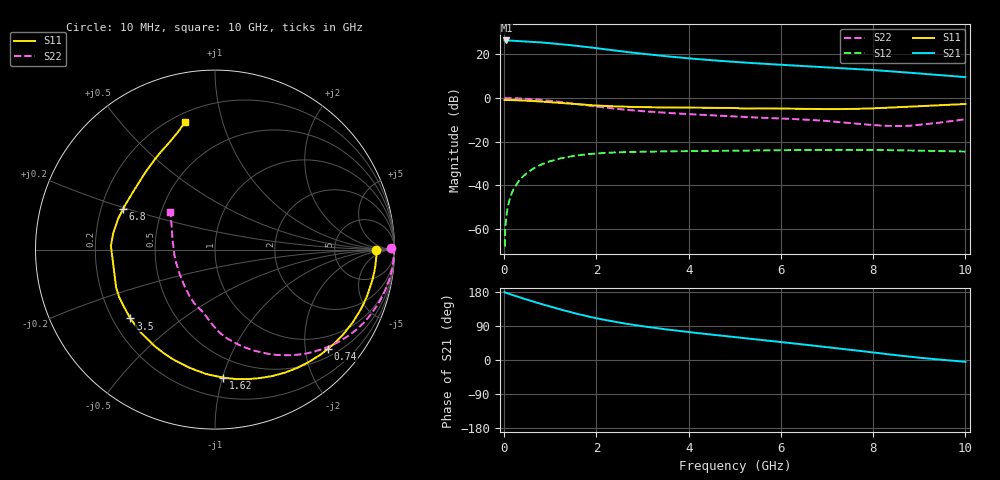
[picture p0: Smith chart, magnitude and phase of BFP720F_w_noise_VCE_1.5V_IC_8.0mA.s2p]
! Infineon Technologies  Discrete & RF Semiconductors
! BFP720F
! VCE =  1.5 V,  IC =  8.0 mA
! Common Emitter S-Parameters:  Jan 2016
# GHz  S  MA  R  50
!  f  S11  S21  S12  S22
! GHz  MAG  ANG  MAG  ANG  MAG  ANG  MAG  ANG
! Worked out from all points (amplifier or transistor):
!   233 points, 10 MHz to 10 GHz, reference 50 ohm
!   highest |S21| = 26.4 dB at 50 MHz (marker M1)
!   |S21| within 3 dB of that: start of sweep to 1.795 GHz
!   unconditionally stable (mu >= 1): start of sweep to 12.61 MHz; 7.189 GHz to end of sweep
!   at 200 MHz: K = 0.05, MSG = 34.1 dB, |S12| = -42.0 dB
!   at 1.74 GHz: K = 0.27, MSG = 24.7 dB, |S12| = -25.9 dB
!   at 10 GHz: K = 1.30, MAG = 13.8 dB, |S12| = -24.6 dB
!   lowest NFmin = 0.50 dB at 450 MHz
!   S11 on the Smith chart (normalised r, x): 10 MHz: 18, -0; 740 MHz: 0.68, -2.50; 1.62 GHz: 0.35, -1.00; 3.5 GHz: 0.27, -0.33; 6.8 GHz: 0.29, +0.19; 10 GHz: 0.25, +0.76
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0.01  0.8956 -0.1  20.88 179.6  0.0004 -3.3  0.9802 0.5
0.015  0.8985 -0.6  20.77 178.6  0.0004 62.6  0.9888 -0.4
0.02  0.9015 -1.1  20.68 177.6  0.0008 89.7  0.9977 -1.3
0.05  0.8993 -2.9  20.91 177.3  0.002 86.7  0.9956 -1.9
0.19  0.893 -10.7  20.54 171.0  0.0075 83.5  0.9904 -7.1
0.36  0.8808 -20.2  20.05 164.3  0.0141 78.3  0.9746 -13.6
0.74  0.8377 -41.2  18.97 150.1  0.0276 65.8  0.9173 -27.3
0.98  0.8049 -54.1  18.17 141.5  0.035 58.6  0.8674 -35.5
1.2  0.7734 -65.6  17.29 134.1  0.0407 52.3  0.8174 -42.6
1.4  0.7449 -75.6  16.45 127.6  0.045 47.1  0.7704 -48.7
1.62  0.7141 -86.4  15.59 120.7  0.0488 41.8  0.7188 -54.9
1.68  0.7064 -89.2  15.32 118.9  0.0497 40.4  0.7046 -56.6
2.02  0.6706 -103.1  13.84 109.7  0.0538 33.6  0.6348 -64.9
2.48  0.6395 -118.5  12.02 99.2  0.0568 26.1  0.5597 -74.3
3  0.6197 -131.9  10.37 89.1  0.0588 20.1  0.4994 -82.3
3.4  0.6091 -139.1  9.344 82.7  0.0596 16.6  0.4666 -86.3
3.5  0.608 -140.9  9.109 80.9  0.0598 15.7  0.4588 -87.4
4  0.5991 -148.0  8.123 73.6  0.0605 12.2  0.4261 -91.1
5.1  0.5807 -163.4  6.621 59.2  0.0621 6.4  0.3729 -97.9
6.8  0.5595 156.3  5.186 36.6  0.0643 -1.5  0.3063 -115.1
8.4  0.6058 123.3  4.098 14.1  0.0638 -9.4  0.2287 -162.2
10  0.7285 103.4  3.023 -4.8  0.0592 -13.4  0.3265 139.9
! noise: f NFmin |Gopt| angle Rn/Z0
0.45  0.5  0.36  4  0.12
0.9  0.52  0.34  9  0.16
1.8  0.57  0.32  16  0.15
2.4  0.6  0.29  26  0.14
5.5  0.76  0.28  53  0.08
10  0.98  0.26  -98  0.16
